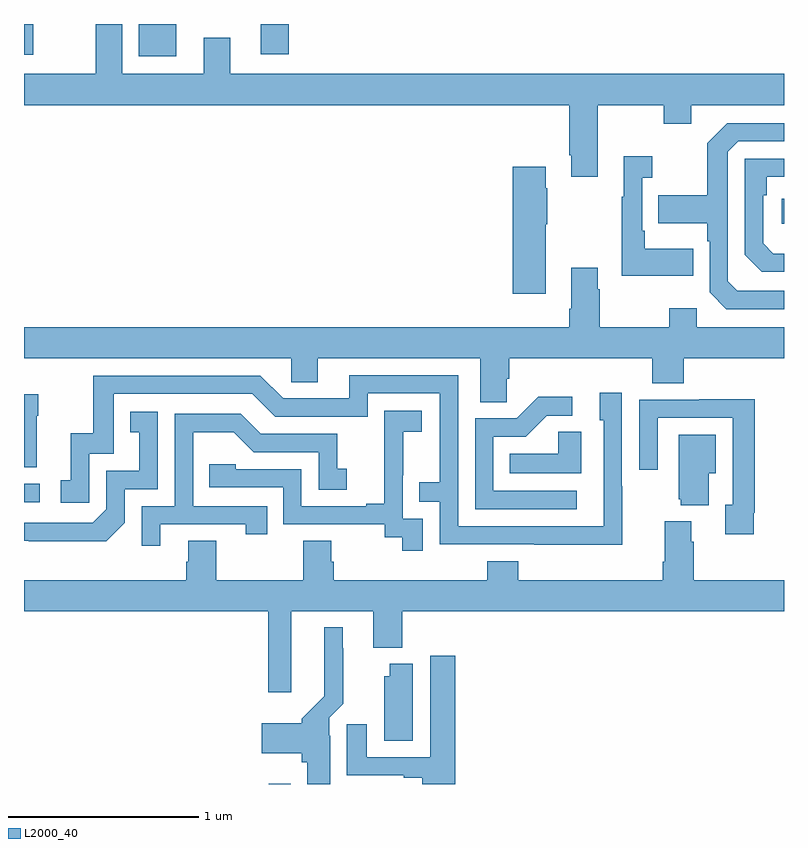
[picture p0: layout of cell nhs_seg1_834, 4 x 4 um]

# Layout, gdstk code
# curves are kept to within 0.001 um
import gdstk
lib = gdstk.Library(unit=1e-6, precision=1e-09)
def R(c, l, rs):  # rectangles x0, y0, x1, y1
    for r in rs: c.add(gdstk.rectangle(r[:2], r[2:], *l))
def P(c, l, *ps):  # polygons
    for p in ps: c.add(gdstk.Polygon(p, *l))
L2000_40 = (2000, 40)

nhs_seg1_834 = lib.new_cell('nhs_seg1_834')
R(nhs_seg1_834, L2000_40, [(158.287,508.199,158.403,508.201), (157,509.682,157.084,509.778), (160.989,511.148,161,511.278), (157.605,512.03,157.801,512.199), (157,512.037,157.048,512.199), (158.246,512.04,158.393,512.199)])
P(nhs_seg1_834, L2000_40, [(160.021,511.772),(160.366,511.772),(160.366,511.673),(160.513,511.673),(160.513,511.772),(161,511.772),(161,511.936),(158.086,511.936),(158.086,512.126),(157.946,512.126),(157.946,511.936),(157.516,511.936),(157.516,512.199),(157.378,512.199),(157.378,511.936),(157,511.936),(157,511.772),(159.869,511.772),(159.869,511.507),(159.881,511.507),(159.881,511.395),(160.021,511.395)],
  [(161,510.795),(160.755,510.795),(160.704,510.846),(160.704,511.527),(160.758,511.581),(161,511.581),(161,511.677),(160.701,511.677),(160.596,511.571),(160.596,511.299),(160.339,511.299),(160.339,511.151),(160.596,511.151),(160.596,511.055),(160.608,511.055),(160.608,510.786),(160.695,510.699),(161,510.699)],
  [(160.523,511.015),(160.267,511.015),(160.267,511.111),(160.254,511.111),(160.254,511.391),(160.306,511.391),(160.306,511.504),(160.157,511.504),(160.157,511.291),(160.146,511.291),(160.146,510.875),(160.523,510.875)],
  [(161,510.991),(160.943,510.991),(160.89,511.044),(160.89,511.298),(160.91,511.298),(160.91,511.395),(161,511.395),(161,511.491),(160.794,511.491),(160.794,510.984),(160.884,510.894),(161,510.894)],
  [(159.745,511.145),(159.753,511.145),(159.753,511.334),(159.745,511.334),(159.745,511.447),(159.572,511.447),(159.572,510.78),(159.745,510.78)],
  [(159.54,510.331),(159.554,510.331),(159.554,510.44),(160.307,510.44),(160.307,510.307),(160.472,510.307),(160.472,510.44),(161,510.44),(161,510.604),(160.542,510.604),(160.542,510.703),(160.396,510.703),(160.396,510.604),(160.029,510.604),(160.029,510.803),(160.021,510.803),(160.021,510.916),(159.881,510.916),(159.881,510.7),(159.869,510.7),(159.869,510.604),(157,510.604),(157,510.44),(158.406,510.44),(158.406,510.313),(158.545,510.313),(158.545,510.44),(159.401,510.44),(159.401,510.208),(159.54,510.208)],
  [(160.149,509.765),(160.146,509.765),(160.146,510.259),(160.031,510.259),(160.031,510.114),(160.05,510.114),(160.05,509.556),(159.285,509.556),(159.285,510.351),(158.711,510.351),(158.711,510.228),(158.364,510.228),(158.244,510.348),(157.365,510.348),(157.365,510.046),(157.247,510.046),(157.247,509.799),(157.194,509.799),(157.194,509.679),(157.344,509.679),(157.344,509.937),(157.473,509.937),(157.473,510.252),(158.202,510.252),(158.322,510.132),(158.808,510.132),(158.808,510.255),(159.189,510.255),(159.189,509.786),(159.079,509.786),(159.079,509.685),(159.189,509.685),(159.189,509.46),(160.149,509.459)],
  [(157.066,510.137),(157.074,510.137),(157.074,510.25),(157,510.25),(157,509.867),(157.066,509.867)],
  [(159.91,509.742),(159.471,509.742),(159.471,510.027),(159.64,510.027),(159.751,510.138),(159.886,510.138),(159.886,510.236),(159.707,510.236),(159.594,510.123),(159.375,510.123),(159.375,509.646),(159.91,509.646)],
  [(160.84,509.626),(160.847,509.626),(160.847,510.224),(160.555,510.224),(160.555,510.222),(160.239,510.222),(160.239,509.853),(160.335,509.853),(160.335,510.126),(160.731,510.126),(160.731,509.67),(160.691,509.67),(160.691,509.514),(160.84,509.514)],
  [(159.099,509.595),(158.994,509.595),(158.994,509.825),(158.996,509.825),(158.996,510.053),(159.094,510.053),(159.094,510.163),(158.896,510.163),(158.896,509.957),(158.897,509.957),(158.897,509.674),(158.801,509.674),(158.801,509.661),(158.46,509.661),(158.46,509.856),(158.115,509.856),(158.115,509.883),(157.975,509.883),(157.975,509.76),(158.364,509.76),(158.364,509.565),(158.898,509.565),(158.898,509.497),(158.991,509.497),(158.991,509.427),(159.099,509.427)],
  [(157.53,509.574),(157.53,509.751),(157.704,509.751),(157.704,510.157),(157.558,510.157),(157.558,510.051),(157.607,510.051),(157.607,509.847),(157.434,509.847),(157.434,509.646),(157.362,509.574),(157,509.574),(157,509.478),(157.024,509.477),(157.432,509.477)],
  [(157.717,509.565),(158.168,509.565),(158.168,509.514),(158.279,509.514),(158.279,509.661),(157.89,509.661),(157.89,510.05),(158.104,510.05),(158.208,509.946),(158.55,509.946),(158.55,509.748),(158.698,509.748),(158.698,509.857),(158.649,509.857),(158.649,510.042),(158.245,510.042),(158.14,510.147),(157.794,510.147),(157.794,509.661),(157.62,509.661),(157.62,509.454),(157.717,509.454)],
  [(159.934,510.053),(159.813,510.053),(159.813,509.938),(159.556,509.938),(159.556,509.834),(159.934,509.834)],
  [(160.603,509.834),(160.642,509.834),(160.642,510.037),(160.445,510.037),(160.445,509.697),(160.457,509.697),(160.457,509.666),(160.603,509.666)],
  [(158.407,509.108),(158.837,509.108),(158.837,508.916),(158.99,508.916),(158.99,509.108),(161,509.108),(161,509.272),(160.526,509.272),(160.526,509.474),(160.513,509.474),(160.513,509.581),(160.373,509.581),(160.373,509.368),(160.361,509.368),(160.361,509.272),(159.602,509.272),(159.602,509.371),(159.437,509.371),(159.437,509.272),(158.63,509.272),(158.63,509.37),(158.617,509.37),(158.617,509.48),(158.47,509.48),(158.47,509.272),(158.013,509.272),(158.013,509.48),(157.865,509.48),(157.865,509.37),(157.853,509.37),(157.853,509.272),(157,509.272),(157,509.108),(158.285,509.108),(158.285,508.683),(158.407,508.683)],
  [(158.611,508.454),(158.607,508.454),(158.607,508.548),(158.681,508.622),(158.681,508.913),(158.677,508.913),(158.677,509.023),(158.579,509.023),(158.58,508.66),(158.462,508.542),(158.462,508.519),(158.25,508.519),(158.25,508.361),(158.462,508.361),(158.462,508.314),(158.492,508.314),(158.492,508.199),(158.611,508.199)],
  [(159.269,508.873),(159.137,508.873),(159.137,508.341),(158.803,508.341),(158.803,508.513),(158.699,508.513),(158.699,508.245),(158.999,508.245),(158.999,508.233),(159.095,508.233),(159.095,508.199),(159.269,508.199)],
  [(159.046,508.831),(158.924,508.831),(158.924,508.767),(158.897,508.767),(158.897,508.426),(159.046,508.426)])

lib.write_gds('nhs_seg1_834.gds')
